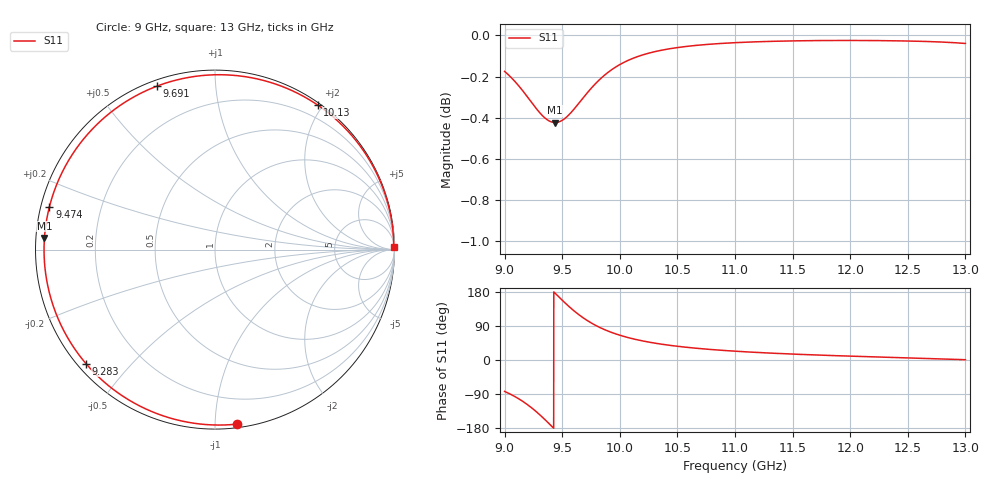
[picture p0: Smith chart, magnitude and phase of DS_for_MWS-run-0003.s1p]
! TOUCHSTONE file generated by CST DESIGN STUDIO
! Date and time: Tue Feb  4 17:03:14 2025
! Project name: C:\Work\MatlabApps\UnitCellOptimizationMatlab\CST\unitcell.cst
! Tree item: Tasks\Sweep1\SPara1\S-Parameters
! Header version: 2024
! Port assignment regex: !\s*Touchstone port\s*([0-9]+)\s*=\s*(CST MWS port|CST DES external port|CST DES block port)\s*(.+)\s* \(\"(.*)\"\)(\s*mode\s*([0-9]+))?.*
! Touchstone port assignment:
! Touchstone port 1 = CST DES external port 1 ("")
# GHz S MA R 50
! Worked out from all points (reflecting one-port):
!   4001 points, 9 GHz to 13 GHz, reference 50 ohm
!   lowest |S11| = -0.4 dB at 9.439 GHz (marker M1), VSWR 41.06, Z = 1.22 + j1.72 ohm
!   phase of S11 starts at -83 deg and turns -276 deg over the sweep
!   S11 on the Smith chart (normalised r, x): 9 GHz: 0.02, -1.13; 9.283 GHz: 0.02, -0.38; 9.474 GHz: 0.02, +0.13; 9.691 GHz: 0.03, +0.71; 10.13 GHz: 0.03, +1.93; 13 GHz: open
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9  0.9801 -82.9
9.086  0.9748 -95.9
9.157  0.9696 -109.0
9.222  0.9642 -123.2
9.283  0.9593 -138.5
9.327  0.9562 -150.6
9.366  0.9541 -161.9
9.403  0.9529 -173.0
9.439  0.9524 176.1
9.474  0.9528 165.5
9.5  0.9536 157.8
9.549  0.956 143.8
9.595  0.9591 131.6
9.642  0.9626 120.2
9.691  0.9664 109.5
9.761  0.9715 96.2
9.844  0.9768 83.3
9.92  0.9806 73.7
10  0.9839 65.4
10.132  0.9877 54.7
10.298  0.9909 44.8
10.5  0.9933 36.2
10.723  0.9948 29.4
11  0.996 23.3
11.5  0.997 15.6
12  0.9972 10.2
12.5  0.9969 5.6
13  0.9955 0.8
